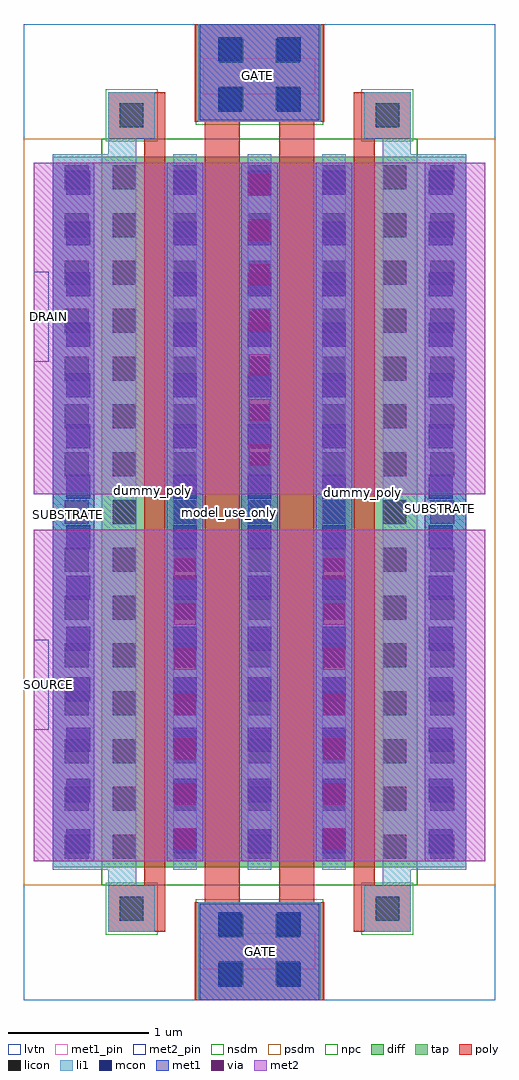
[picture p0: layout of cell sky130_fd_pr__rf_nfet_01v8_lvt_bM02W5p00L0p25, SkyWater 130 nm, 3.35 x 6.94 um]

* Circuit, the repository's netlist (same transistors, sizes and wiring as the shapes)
* Copyright 2020 The SkyWater PDK Authors
*
* Licensed under the Apache License, Version 2.0 (the "License");
* you may not use this file except in compliance with the License.
* You may obtain a copy of the License at
*
*     https://www.apache.org/licenses/LICENSE-2.0
*
* Unless required by applicable law or agreed to in writing, software
* distributed under the License is distributed on an "AS IS" BASIS,
* WITHOUT WARRANTIES OR CONDITIONS OF ANY KIND, either express or implied.
* See the License for the specific language governing permissions and
* limitations under the License.
*
* SPDX-License-Identifier: Apache-2.0


.subckt sky130_fd_pr__rf_nfet_01v8_lvt_bM02W5p00L0p25 DRAIN GATE SOURCE SUBSTRATE
X0 SOURCE SUBSTRATE SUBSTRATE SUBSTRATE sky130_fd_pr__nfet_01v8_lvt w=5.05e+06u l=150000u
X1 DRAIN GATE SOURCE SUBSTRATE sky130_fd_pr__nfet_01v8_lvt w=5.05e+06u l=250000u
X2 SUBSTRATE SUBSTRATE SOURCE SUBSTRATE sky130_fd_pr__nfet_01v8_lvt w=5.05e+06u l=150000u
X3 SOURCE GATE DRAIN SUBSTRATE sky130_fd_pr__nfet_01v8_lvt w=5.05e+06u l=250000u
.ends

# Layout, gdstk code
import gdstk
lib = gdstk.Library(unit=1e-6, precision=1e-09)
def R(c, l, rs):  # rectangles x0, y0, x1, y1
    for r in rs: c.add(gdstk.rectangle(r[:2], r[2:], *l))
def A(c, l, x, y, w, h, nx, ny, dx, dy):  # array of equal rectangles
    R(c, l, [(x+i*dx, y+j*dy, x+i*dx+w, y+j*dy+h) for i in range(nx) for j in range(ny)])
diff = (65, 20)
tap = (65, 44)
poly = (66, 20)
licon = (66, 44)
li1 = (67, 20)
mcon = (67, 44)
met1_pin = (68, 16)
met1 = (68, 20)
via = (68, 44)
met2_pin = (69, 16)
met2 = (69, 20)
nsdm = (93, 44)
psdm = (94, 20)
npc = (95, 20)
lvtn = (125, 44)

sky130_fd_pr__rf_nfet_01 = lib.new_cell('sky130_fd_pr__rf_nfet_01v8_lvt_bM02W5p00L0p25')
R(sky130_fd_pr__rf_nfet_01, diff, [(0.555,0.945,2.795,5.995)])
R(sky130_fd_pr__rf_nfet_01, tap, [(0.205,0.945,0.555,5.995), (2.795,0.945,3.145,5.995)])
R(sky130_fd_pr__rf_nfet_01, poly, [(1.215,0,2.135,0.695), (0.6,0.485,0.93,0.815), (0.855,0.485,1.005,6.455), (2.345,0.485,2.495,6.455), (2.42,0.485,2.75,0.815), (1.285,0.695,1.535,6.245), (1.815,0.695,2.065,6.245), (0.6,6.125,0.93,6.455), (2.42,6.125,2.75,6.455), (1.215,6.245,2.135,6.94)])
A(sky130_fd_pr__rf_nfet_01, licon, 0.29, 1.005, 0.17, 0.17, 1, 15, 0, 0.34)
A(sky130_fd_pr__rf_nfet_01, licon, 0.63, 1.005, 0.17, 0.17, 1, 15, 0, 0.34)
A(sky130_fd_pr__rf_nfet_01, licon, 1.06, 1.005, 0.17, 0.17, 3, 15, 0.53, 0.34)
A(sky130_fd_pr__rf_nfet_01, licon, 2.55, 1.005, 0.17, 0.17, 1, 15, 0, 0.34)
A(sky130_fd_pr__rf_nfet_01, licon, 2.89, 1.005, 0.17, 0.17, 1, 15, 0, 0.34)
R(sky130_fd_pr__rf_nfet_01, licon, [(1.39,0.105,1.56,0.275), (1.79,0.105,1.96,0.275), (1.39,0.445,1.56,0.615), (1.79,0.445,1.96,0.615), (0.68,0.565,0.85,0.735), (2.5,0.565,2.67,0.735), (0.68,6.205,0.85,6.375), (2.5,6.205,2.67,6.375), (1.39,6.325,1.56,6.495), (1.79,6.325,1.96,6.495), (1.39,6.665,1.56,6.835), (1.79,6.665,1.96,6.835)])
A(sky130_fd_pr__rf_nfet_01, li1, 1.06, 0.925, 0.17, 5.09, 3, 1, 0.53, 0)
A(sky130_fd_pr__rf_nfet_01, li1, 1.06, 2.125, 0.17, 2.69, 3, 1, 0.53, 0)
R(sky130_fd_pr__rf_nfet_01, li1, [(1.24,0,2.11,0.695), (0.6,0.485,0.93,0.815), (2.42,0.485,2.75,0.815), (0.6,0.815,0.8,0.925), (2.55,0.815,2.75,0.925), (0.205,0.925,0.8,6.015), (2.55,0.925,3.145,6.015), (0.32,1.045,0.49,5.895), (2.86,1.045,3.03,5.895), (0.6,6.015,0.8,6.125), (2.55,6.015,2.75,6.125), (0.6,6.125,0.93,6.455), (2.42,6.125,2.75,6.455), (1.24,6.245,2.11,6.94)])
A(sky130_fd_pr__rf_nfet_01, mcon, 0.3, 1.045, 0.17, 0.17, 1, 14, 0, 0.36)
A(sky130_fd_pr__rf_nfet_01, mcon, 1.06, 1.045, 0.17, 0.17, 3, 14, 0.53, 0.36)
A(sky130_fd_pr__rf_nfet_01, mcon, 2.88, 1.045, 0.17, 0.17, 1, 14, 0, 0.36)
R(sky130_fd_pr__rf_nfet_01, mcon, [(1.38,0.095,1.55,0.265), (1.8,0.095,1.97,0.265), (1.38,0.455,1.55,0.625), (1.8,0.455,1.97,0.625), (1.38,6.315,1.55,6.485), (1.8,6.315,1.97,6.485), (1.38,6.675,1.55,6.845), (1.8,6.675,1.97,6.845)])
R(sky130_fd_pr__rf_nfet_01, met1_pin, [(1.275,0.22,2.07,0.475), (0.205,3.375,0.5,3.525), (2.85,3.415,3.145,3.565), (1.275,6.44,2.07,6.695)])
A(sky130_fd_pr__rf_nfet_01, met1, 1.015, 0.985, 0.26, 4.97, 3, 1, 0.53, 0)
R(sky130_fd_pr__rf_nfet_01, met1, [(1.25,0,2.1,0.685), (0.205,0.985,0.5,5.955), (1.015,0.985,1.275,3.225), (2.075,0.985,2.335,3.225), (2.85,0.985,3.145,5.955), (1.545,3.715,1.805,5.955), (1.25,6.255,2.1,6.94)])
A(sky130_fd_pr__rf_nfet_01, via, 1.07, 1.07, 0.15, 0.15, 1, 7, 0, 0.32)
A(sky130_fd_pr__rf_nfet_01, via, 2.13, 1.07, 0.15, 0.15, 1, 7, 0, 0.32)
A(sky130_fd_pr__rf_nfet_01, via, 1.6, 3.8, 0.15, 0.15, 1, 7, 0, 0.32)
R(sky130_fd_pr__rf_nfet_01, met2_pin, [(0.07,1.92,0.175,2.56), (0.07,4.54,0.175,5.18)])
R(sky130_fd_pr__rf_nfet_01, met2, [(0.07,0.985,3.28,3.345), (1.015,0.985,1.275,3.225), (2.075,0.985,2.335,3.225), (0.07,3.595,3.28,5.955), (1.545,3.715,1.805,5.955)])
R(sky130_fd_pr__rf_nfet_01, nsdm, [(0.555,0.815,2.795,6.125)])
R(sky130_fd_pr__rf_nfet_01, psdm, [(0,0.815,0.555,6.125), (2.795,0.815,3.35,6.125)])
R(sky130_fd_pr__rf_nfet_01, npc, [(1.22,0,2.13,0.715), (0.58,0.465,0.95,0.835), (2.4,0.465,2.77,0.835), (0.58,6.105,0.95,6.475), (2.4,6.105,2.77,6.475), (1.22,6.225,2.13,6.94)])
R(sky130_fd_pr__rf_nfet_01, lvtn, [(0,0,3.35,6.94)])
sky130_fd_pr__rf_nfet_01.add(gdstk.Label('dummy_poly', (0.915,3.625), layer=83, texttype=44))
sky130_fd_pr__rf_nfet_01.add(gdstk.Label('dummy_poly', (2.41,3.61), layer=83, texttype=44))
sky130_fd_pr__rf_nfet_01.add(gdstk.Label('GATE', (1.66,6.575), layer=68, texttype=5))
sky130_fd_pr__rf_nfet_01.add(gdstk.Label('GATE', (1.685,0.345), layer=68, texttype=5))
sky130_fd_pr__rf_nfet_01.add(gdstk.Label('SUBSTRATE', (2.96,3.495), layer=68, texttype=16))
sky130_fd_pr__rf_nfet_01.add(gdstk.Label('SUBSTRATE', (0.315,3.455), layer=68, texttype=16))
sky130_fd_pr__rf_nfet_01.add(gdstk.Label('model_use_only', (1.46,3.47), layer=66, texttype=83))
sky130_fd_pr__rf_nfet_01.add(gdstk.Label('model_use_only', (1.89,3.47), layer=66, texttype=83))
sky130_fd_pr__rf_nfet_01.add(gdstk.Label('model_use_only', (2.41,3.47), layer=66, texttype=83))
sky130_fd_pr__rf_nfet_01.add(gdstk.Label('model_use_only', (0.915,3.47), layer=66, texttype=83))
sky130_fd_pr__rf_nfet_01.add(gdstk.Label('SOURCE', (0.175,2.24), layer=69, texttype=5))
sky130_fd_pr__rf_nfet_01.add(gdstk.Label('DRAIN', (0.175,4.86), layer=69, texttype=5))

lib.write_gds('sky130_fd_pr__rf_nfet_01v8_lvt_bM02W5p00L0p25.gds')
